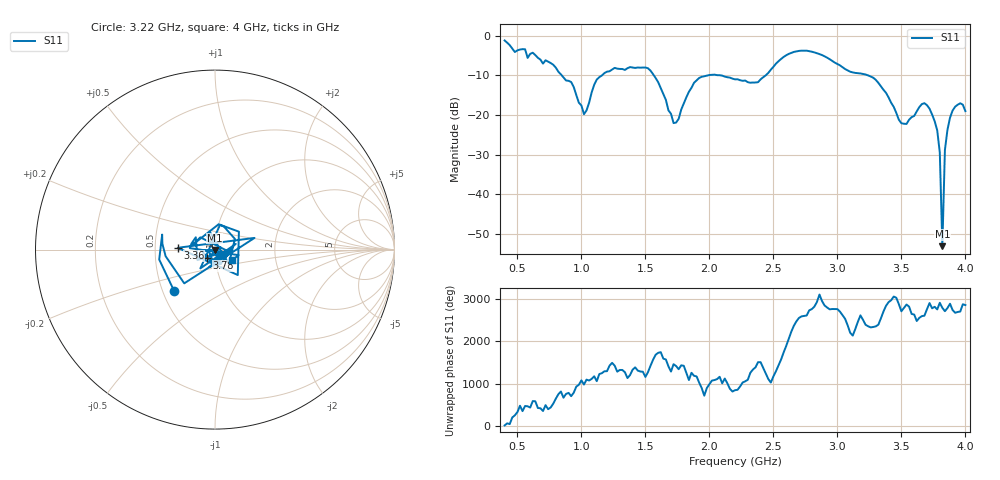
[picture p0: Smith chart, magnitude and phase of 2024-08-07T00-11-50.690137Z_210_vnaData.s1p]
!Created with skrf (http://scikit-rf.org).
# Hz S RI R 50.0
!freq ReS11 ImS11
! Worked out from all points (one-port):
!   181 points, 400 MHz to 4 GHz, reference 50 ohm
!   lowest |S11| = -53.1 dB at 3.82 GHz (marker M1), VSWR 1.00, Z = 50 - j0.22 ohm
!   |S11| at or under -10 dB: 1.566 GHz to 1.988 GHz (421.6 MHz wide, 23.7 % of centre); 2.087 GHz to 2.44 GHz (353.2 MHz wide, 15.6 % of centre); 3.239 GHz to end of sweep (the widest 3 of 4)
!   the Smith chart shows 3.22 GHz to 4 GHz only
!   S11 on the Smith chart (normalised r, x): 3.22 GHz: 0.57, -0.30; 3.36 GHz: 0.66, +0.01; 3.78 GHz: 0.91, -0.08; 4 GHz: 1.20, -0.15
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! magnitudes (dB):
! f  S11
! 400 MHz  -1.2
! 860 MHz  -10.5
! 920 MHz  -11.7
! 1.02 GHz  -19.8
! 1.12 GHz  -11.1
! 1.3 GHz  -8.4
! 1.52 GHz  -8.2
! 1.6 GHz  -11.7
! 1.72 GHz  -22.0
! 1.76 GHz  -21.0
! 1.92 GHz  -10.7
! 2.2 GHz  -11.0
! 2.38 GHz  -11.7
! 2.66 GHz  -4.1
! 2.86 GHz  -4.6
! 3.1 GHz  -9.1
! 3.22 GHz  -9.8
! 3.36 GHz  -13.6
! 3.5 GHz  -22.1
! 3.56 GHz  -21.2
! 3.68 GHz  -17.0
! 3.78 GHz  -23.9
! 3.8 GHz  -29.5
! 3.82 GHz  -53.1
! 3.84 GHz  -28.8
! 3.86 GHz  -23.7
! 3.92 GHz  -17.9
! 4 GHz  -19.0
